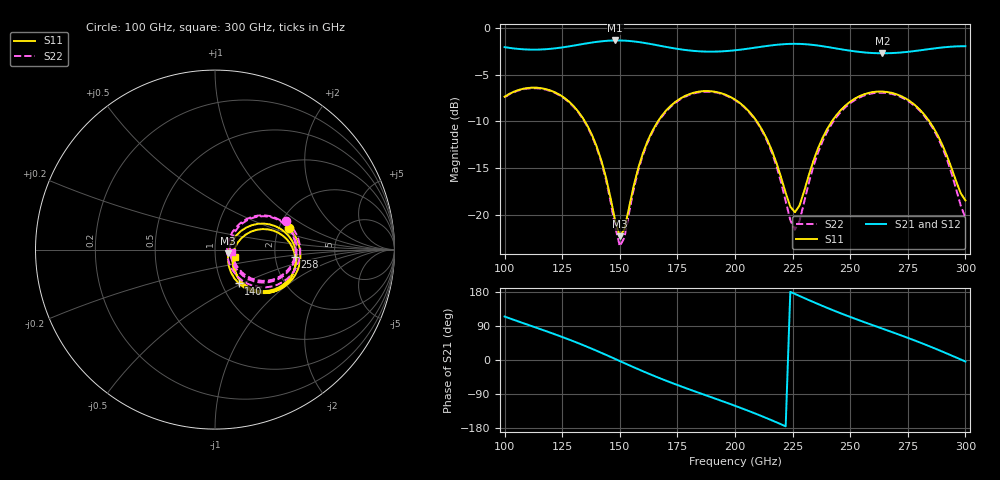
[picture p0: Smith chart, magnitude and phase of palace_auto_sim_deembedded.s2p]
! Created with skrf 1.11.0 (http://scikit-rf.org).
# GHz S DB R 50.0
!freq dBS11 angS11 dBS21 angS21 dBS12 angS12 dBS22 angS22
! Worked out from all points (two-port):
!   101 points, 100 GHz to 300 GHz, reference 50 ohm
!   highest |S21| = -1.35 dB at 148 GHz (marker M1); lowest = -2.7 dB at 264 GHz (marker M2)
!   |S21| within 3 dB of the highest: start of sweep to end of sweep
!   lowest |S11| = -22.3 dB at 150 GHz (marker M3), VSWR 1.17, Z = 57.9 - j2.43 ohm
!   |S11| at or under -10 dB: 134.8 GHz to 166.6 GHz (31.87 GHz wide, 21.1 % of centre); 209.4 GHz to 242.1 GHz (32.73 GHz wide, 14.5 % of centre); 284.3 GHz to end of sweep
!   |S22| runs from -23.4 to -6.5 dB; largest |S21 - S12| = 1.5e-13
!   S11 on the Smith chart (normalised r, x): 100 GHz: 2.26, +0.66; 140 GHz: 1.20, -0.48; 258 GHz: 2.60, -0.25; 300 GHz: 1.25, -0.11
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100  -7.38 16.1  -2.07 114.7  -2.07 114.7  -7.43 21.7
116  -6.47 -13.5  -2.32 80.4  -2.32 80.4  -6.53 -7.3
126  -7.51 -32.1  -2.06 58.5  -2.06 58.5  -7.58 -25.7
134  -9.68 -46.6  -1.73 39.5  -1.73 39.5  -9.77 -40.2
140  -12.74 -54.9  -1.50 24.2  -1.50 24.2  -12.87 -48.8
148  -20.68 -38.8  -1.35 2.7  -1.35 2.7  -21.36 -34.0
150  -22.33 -15.9  -1.35 -2.7  -1.35 -2.7  -23.39 -8.8
152  -21.57 10.4  -1.37 -8.2  -1.37 -8.2  -22.50 21.2
160  -13.46 35.2  -1.59 -29.5  -1.59 -29.5  -13.65 46.2
168  -9.50 24.8  -1.94 -49.6  -1.94 -49.6  -9.61 35.3
184  -6.85 -3.3  -2.50 -85.9  -2.50 -85.9  -6.92 7.0
200  -7.68 -30.8  -2.40 -120.8  -2.40 -120.8  -7.74 -20.6
214  -11.99 -50.0  -1.94 -154.1  -1.94 -154.1  -12.16 -41.6
226  -19.76 -11.3  -1.71 174.3  -1.71 174.3  -21.63 -0.4
234  -14.28 26.2  -1.83 153.0  -1.83 153.0  -14.87 43.8
244  -9.36 18.2  -2.21 127.8  -2.21 127.8  -9.58 34.1
258  -6.97 -4.9  -2.67 95.8  -2.67 95.8  -7.10 10.1
264  -6.83 -15.1  -2.72 82.7  -2.72 82.7  -6.94 -0.4
268  -6.96 -21.9  -2.70 74.0  -2.70 74.0  -7.08 -7.3
278  -8.25 -38.2  -2.48 51.5  -2.48 51.5  -8.37 -24.3
286  -10.64 -48.8  -2.22 32.3  -2.22 32.3  -10.81 -36.2
300  -18.49 -20.8  -1.97 -4.0  -1.97 -4.0  -20.33 -9.0
